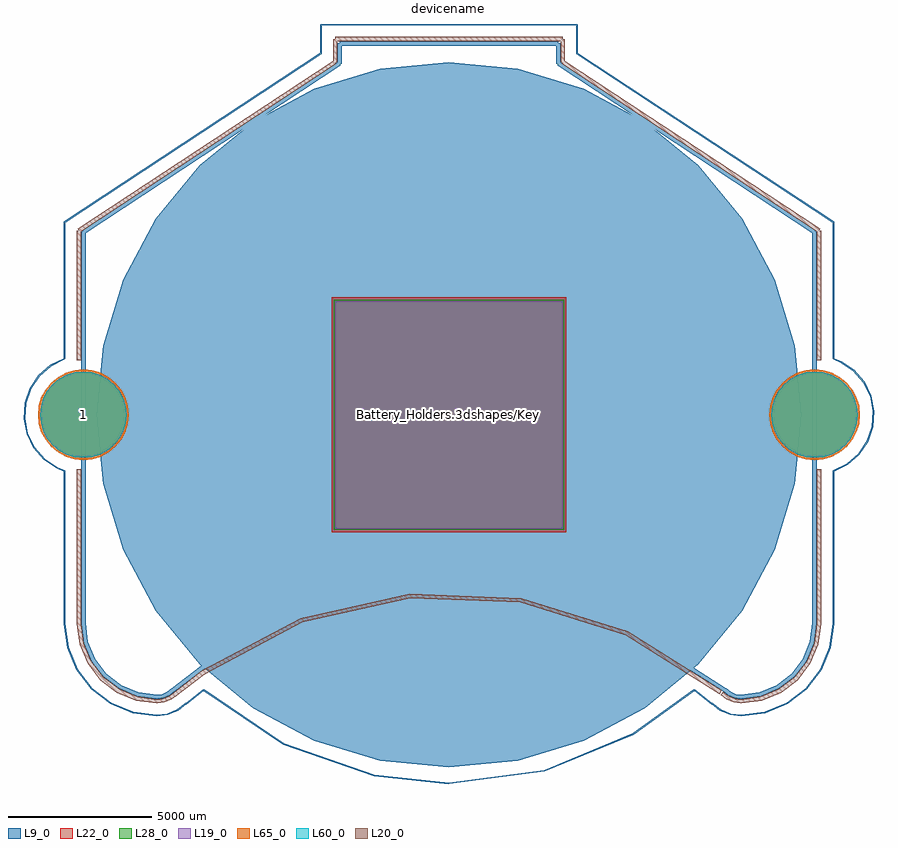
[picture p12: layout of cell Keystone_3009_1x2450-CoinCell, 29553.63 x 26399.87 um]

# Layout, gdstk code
import gdstk
lib = gdstk.Library(unit=1e-6, precision=1e-09)
def R(c, l, rs):  # rectangles x0, y0, x1, y1
    for r in rs: c.add(gdstk.rectangle(r[:2], r[2:], *l))
def P(c, l, *ps):  # polygons
    for p in ps: c.add(gdstk.Polygon(p, *l))
L9_0 = (9, 0)
L19_0 = (19, 0)
L20_0 = (20, 0)
L22_0 = (22, 0)
L28_0 = (28, 0)
L60_0 = (60, 0)
L65_0 = (65, 0)

keystone_3009_1x2450_coi = lib.new_cell('Keystone_3009_1x2450-CoinCell')
P(keystone_3009_1x2450_coi, L9_0, [(12250,0),(12014.62,2389.856),(11317.524,4687.872),(10185.503,6805.735),(8662.058,8662.058),(6805.735,10185.503),(4687.872,11317.524),(2389.856,12014.62),(0,12250),(-2389.856,12014.62),(-4687.872,11317.524),(-6805.735,10185.503),(-8662.058,8662.058),(-10185.503,6805.735),(-11317.524,4687.872),(-12014.62,2389.856),(-12250,0),(-12014.62,-2389.856),(-11317.524,-4687.872),(-10185.503,-6805.735),(-8662.058,-8662.058),(-6805.735,-10185.503),(-4687.872,-11317.524),(-2389.856,-12014.62),(0,-12250),(2389.856,-12014.62),(4687.872,-11317.524),(6805.735,-10185.503),(8662.058,-8662.058),(10185.503,-6805.735),(11317.524,-4687.872),(12014.62,-2389.856)])
R(keystone_3009_1x2450_coi, L19_0, [(-3950,-3950,3950,3950)])
R(keystone_3009_1x2450_coi, L22_0, [(-4075,-4075,4075,4075)])
P(keystone_3009_1x2450_coi, L22_0, [(14275,0),(14244.737,307.267),(14155.11,602.726),(14009.565,875.023),(13813.693,1113.693),(13575.023,1309.565),(13302.726,1455.11),(13007.267,1544.737),(12700,1575),(12392.733,1544.737),(12097.274,1455.11),(11824.977,1309.565),(11586.307,1113.693),(11390.435,875.023),(11244.89,602.726),(11155.263,307.267),(11125,0),(11155.263,-307.267),(11244.89,-602.726),(11390.435,-875.023),(11586.307,-1113.693),(11824.977,-1309.565),(12097.274,-1455.11),(12392.733,-1544.737),(12700,-1575),(13007.267,-1544.737),(13302.726,-1455.11),(13575.023,-1309.565),(13813.693,-1113.693),(14009.565,-875.023),(14155.11,-602.726),(14244.737,-307.267)],
  [(-11125,0),(-11155.263,307.267),(-11244.89,602.726),(-11390.435,875.023),(-11586.307,1113.693),(-11824.977,1309.565),(-12097.274,1455.11),(-12392.733,1544.737),(-12700,1575),(-13007.267,1544.737),(-13302.726,1455.11),(-13575.023,1309.565),(-13813.693,1113.693),(-14009.565,875.023),(-14155.11,602.726),(-14244.737,307.267),(-14275,0),(-14244.737,-307.267),(-14155.11,-602.726),(-14009.565,-875.023),(-13813.693,-1113.693),(-13575.023,-1309.565),(-13302.726,-1455.11),(-13007.267,-1544.737),(-12700,-1575),(-12392.733,-1544.737),(-12097.274,-1455.11),(-11824.977,-1309.565),(-11586.307,-1113.693),(-11390.435,-875.023),(-11244.89,-602.726),(-11155.263,-307.267)])
R(keystone_3009_1x2450_coi, L28_0, [(-4000,-4000,4000,4000)])
P(keystone_3009_1x2450_coi, L28_0, [(14200,0),(14171.178,292.635),(14085.819,574.025),(13947.204,833.355),(13760.66,1060.66),(13533.355,1247.204),(13274.025,1385.819),(12992.635,1471.178),(12700,1500),(12407.365,1471.178),(12125.975,1385.819),(11866.645,1247.204),(11639.34,1060.66),(11452.796,833.355),(11314.181,574.025),(11228.822,292.635),(11200,0),(11228.822,-292.635),(11314.181,-574.025),(11452.796,-833.355),(11639.34,-1060.66),(11866.645,-1247.204),(12125.975,-1385.819),(12407.365,-1471.178),(12700,-1500),(12992.635,-1471.178),(13274.025,-1385.819),(13533.355,-1247.204),(13760.66,-1060.66),(13947.204,-833.355),(14085.819,-574.025),(14171.178,-292.635)],
  [(-11200,0),(-11228.822,292.635),(-11314.181,574.025),(-11452.796,833.355),(-11639.34,1060.66),(-11866.645,1247.204),(-12125.975,1385.819),(-12407.365,1471.178),(-12700,1500),(-12992.635,1471.178),(-13274.025,1385.819),(-13533.355,1247.204),(-13760.66,1060.66),(-13947.204,833.355),(-14085.819,574.025),(-14171.178,292.635),(-14200,0),(-14171.178,-292.635),(-14085.819,-574.025),(-13947.204,-833.355),(-13760.66,-1060.66),(-13533.355,-1247.204),(-13274.025,-1385.819),(-12992.635,-1471.178),(-12700,-1500),(-12407.365,-1471.178),(-12125.975,-1385.819),(-11866.645,-1247.204),(-11639.34,-1060.66),(-11452.796,-833.355),(-11314.181,-574.025),(-11228.822,-292.635)])
P(keystone_3009_1x2450_coi, L60_0, [(14200,0),(14171.178,292.635),(14085.819,574.025),(13947.204,833.355),(13760.66,1060.66),(13533.355,1247.204),(13274.025,1385.819),(12992.635,1471.178),(12700,1500),(12407.365,1471.178),(12125.975,1385.819),(11866.645,1247.204),(11639.34,1060.66),(11452.796,833.355),(11314.181,574.025),(11228.822,292.635),(11200,0),(11228.822,-292.635),(11314.181,-574.025),(11452.796,-833.355),(11639.34,-1060.66),(11866.645,-1247.204),(12125.975,-1385.819),(12407.365,-1471.178),(12700,-1500),(12992.635,-1471.178),(13274.025,-1385.819),(13533.355,-1247.204),(13760.66,-1060.66),(13947.204,-833.355),(14085.819,-574.025),(14171.178,-292.635)],
  [(-11200,0),(-11228.822,292.635),(-11314.181,574.025),(-11452.796,833.355),(-11639.34,1060.66),(-11866.645,1247.204),(-12125.975,1385.819),(-12407.365,1471.178),(-12700,1500),(-12992.635,1471.178),(-13274.025,1385.819),(-13533.355,1247.204),(-13760.66,1060.66),(-13947.204,833.355),(-14085.819,574.025),(-14171.178,292.635),(-14200,0),(-14171.178,-292.635),(-14085.819,-574.025),(-13947.204,-833.355),(-13760.66,-1060.66),(-13533.355,-1247.204),(-13274.025,-1385.819),(-12992.635,-1471.178),(-12700,-1500),(-12407.365,-1471.178),(-12125.975,-1385.819),(-11866.645,-1247.204),(-11639.34,-1060.66),(-11452.796,-833.355),(-11314.181,-574.025),(-11228.822,-292.635)])
P(keystone_3009_1x2450_coi, L65_0, [(14275,0),(14244.737,307.267),(14155.11,602.726),(14009.565,875.023),(13813.693,1113.693),(13575.023,1309.565),(13302.726,1455.11),(13007.267,1544.737),(12700,1575),(12392.733,1544.737),(12097.274,1455.11),(11824.977,1309.565),(11586.307,1113.693),(11390.435,875.023),(11244.89,602.726),(11155.263,307.267),(11125,0),(11155.263,-307.267),(11244.89,-602.726),(11390.435,-875.023),(11586.307,-1113.693),(11824.977,-1309.565),(12097.274,-1455.11),(12392.733,-1544.737),(12700,-1575),(13007.267,-1544.737),(13302.726,-1455.11),(13575.023,-1309.565),(13813.693,-1113.693),(14009.565,-875.023),(14155.11,-602.726),(14244.737,-307.267)],
  [(-11125,0),(-11155.263,307.267),(-11244.89,602.726),(-11390.435,875.023),(-11586.307,1113.693),(-11824.977,1309.565),(-12097.274,1455.11),(-12392.733,1544.737),(-12700,1575),(-13007.267,1544.737),(-13302.726,1455.11),(-13575.023,1309.565),(-13813.693,1113.693),(-14009.565,875.023),(-14155.11,602.726),(-14244.737,307.267),(-14275,0),(-14244.737,-307.267),(-14155.11,-602.726),(-14009.565,-875.023),(-13813.693,-1113.693),(-13575.023,-1309.565),(-13302.726,-1455.11),(-13007.267,-1544.737),(-12700,-1575),(-12392.733,-1544.737),(-12097.274,-1455.11),(-11824.977,-1309.565),(-11586.307,-1113.693),(-11390.435,-875.023),(-11244.89,-602.726),(-11155.263,-307.267)])
keystone_3009_1x2450_coi.add(gdstk.FlexPath([(-4450,12550),(-13350,6700)], 50, ends="flush", simple_path=True, layer=9, datatype=0))  # L9_0
keystone_3009_1x2450_coi.add(gdstk.FlexPath([(-3800,12900),(3800,12900)], 149.998, ends="flush", simple_path=True, layer=9, datatype=0))  # L9_0
keystone_3009_1x2450_coi.add(gdstk.FlexPath([(3800,12900),(3800,12200)], 149.998, ends="flush", simple_path=True, layer=9, datatype=0))  # L9_0
keystone_3009_1x2450_coi.add(gdstk.FlexPath([(-3800,12900),(-3800,12200)], 149.998, ends="flush", simple_path=True, layer=9, datatype=0))  # L9_0
keystone_3009_1x2450_coi.add(gdstk.FlexPath([(-3800,12200),(-12700,6350)], 149.998, ends="flush", simple_path=True, layer=9, datatype=0))  # L9_0
keystone_3009_1x2450_coi.add(gdstk.FlexPath([(3800,12200),(12700,6350)], 149.998, ends="flush", simple_path=True, layer=9, datatype=0))  # L9_0
keystone_3009_1x2450_coi.add(gdstk.FlexPath([(-3950,12250),(-12850,6400)], 149.998, ends="flush", simple_path=True, layer=20, datatype=0))  # L20_0
keystone_3009_1x2450_coi.add(gdstk.FlexPath([(-3950,13050),(-3950,12250)], 149.998, ends="flush", simple_path=True, layer=20, datatype=0))  # L20_0
keystone_3009_1x2450_coi.add(gdstk.FlexPath([(-3950,13050),(3950,13050)], 149.998, ends="flush", simple_path=True, layer=20, datatype=0))  # L20_0
keystone_3009_1x2450_coi.add(gdstk.FlexPath([(3950,13050),(3950,12250)], 149.998, ends="flush", simple_path=True, layer=20, datatype=0))  # L20_0
keystone_3009_1x2450_coi.add(gdstk.FlexPath([(3950,12250),(12850,6400)], 149.998, ends="flush", simple_path=True, layer=20, datatype=0))  # L20_0
keystone_3009_1x2450_coi.add(gdstk.FlexPath([(4450,12550),(13350,6700)], 50, ends="flush", simple_path=True, layer=9, datatype=0))  # L9_0
keystone_3009_1x2450_coi.add(gdstk.FlexPath([(-4450,13550),(-4450,12550)], 50, ends="flush", simple_path=True, layer=9, datatype=0))  # L9_0
keystone_3009_1x2450_coi.add(gdstk.FlexPath([(-4450,13550),(4450,13550)], 50, ends="flush", simple_path=True, layer=9, datatype=0))  # L9_0
keystone_3009_1x2450_coi.add(gdstk.FlexPath([(4450,13550),(4450,12550)], 50, ends="flush", simple_path=True, layer=9, datatype=0))  # L9_0
keystone_3009_1x2450_coi.add(gdstk.FlexPath([(-12700,6350),(-12700,-7300)], 149.998, ends="flush", simple_path=True, layer=9, datatype=0))  # L9_0
keystone_3009_1x2450_coi.add(gdstk.FlexPath([(12700,6350),(12700,-7300)], 149.998, ends="flush", simple_path=True, layer=9, datatype=0))  # L9_0
keystone_3009_1x2450_coi.add(gdstk.FlexPath([(13350,-1950),(13350,-7300)], 50, ends="flush", simple_path=True, layer=9, datatype=0))  # L9_0
keystone_3009_1x2450_coi.add(gdstk.FlexPath([(-13350,6700),(-13350,1950)], 50, ends="flush", simple_path=True, layer=9, datatype=0))  # L9_0
keystone_3009_1x2450_coi.add(gdstk.FlexPath([(-13350,-1950),(-13350,-7300)], 50, ends="flush", simple_path=True, layer=9, datatype=0))  # L9_0
keystone_3009_1x2450_coi.add(gdstk.FlexPath([(13350,6700),(13350,1950)], 50, ends="flush", simple_path=True, layer=9, datatype=0))  # L9_0
keystone_3009_1x2450_coi.add(gdstk.FlexPath([(-12850,6400),(-12850,1900)], 149.998, ends="flush", simple_path=True, layer=20, datatype=0))  # L20_0
keystone_3009_1x2450_coi.add(gdstk.FlexPath([(12850,6400),(12850,1900)], 149.998, ends="flush", simple_path=True, layer=20, datatype=0))  # L20_0
keystone_3009_1x2450_coi.add(gdstk.FlexPath([(-12700,-7250),(-12613.111,-7909.989),(-12358.365,-8525),(-11953.122,-9053.122),(-11425,-9458.365),(-10809.989,-9713.111),(-10150,-9800)], 149.998, ends="flush", simple_path=True, layer=9, datatype=0))  # L9_0
keystone_3009_1x2450_coi.add(gdstk.FlexPath([(10150,-9800),(10809.989,-9713.111),(11425,-9458.365),(11953.122,-9053.122),(12358.365,-8525),(12613.111,-7909.989),(12700,-7250)], 149.998, ends="flush", simple_path=True, layer=9, datatype=0))  # L9_0
keystone_3009_1x2450_coi.add(gdstk.FlexPath([(-12850,-1900),(-12850,-7300)], 149.998, ends="flush", simple_path=True, layer=20, datatype=0))  # L20_0
keystone_3009_1x2450_coi.add(gdstk.FlexPath([(12850,-1900),(12850,-7300)], 149.998, ends="flush", simple_path=True, layer=20, datatype=0))  # L20_0
keystone_3009_1x2450_coi.add(gdstk.FlexPath([(10150,-9950),(10848.811,-9858),(11500,-9588.269),(12059.188,-9159.188),(12488.269,-8600),(12758,-7948.811),(12850,-7250)], 149.998, ends="flush", simple_path=True, layer=20, datatype=0))  # L20_0
keystone_3009_1x2450_coi.add(gdstk.FlexPath([(-12850,-7250),(-12758,-7948.811),(-12488.269,-8600),(-12059.188,-9159.188),(-11500,-9588.269),(-10848.811,-9858),(-10150,-9950)], 149.998, ends="flush", simple_path=True, layer=20, datatype=0))  # L20_0
keystone_3009_1x2450_coi.add(gdstk.FlexPath([(9579.482,-9562.784),(6292.9,-7473.145),(2577.467,-6305.339),(-1313.616,-6138.95),(-5115.179,-6985.317),(-8568.15,-8786.761),(-9600,-9580)], 149.998, ends="flush", simple_path=True, layer=9, datatype=0))  # L9_0
keystone_3009_1x2450_coi.add(gdstk.FlexPath([(-10150,-9800),(-9942.945,-9772.74),(-9750,-9692.82),(-9584.315,-9565.685)], 149.998, ends="flush", simple_path=True, layer=9, datatype=0))  # L9_0
keystone_3009_1x2450_coi.add(gdstk.FlexPath([(9584.315,-9565.685),(9750,-9692.82),(9942.945,-9772.74),(10150,-9800)], 149.998, ends="flush", simple_path=True, layer=9, datatype=0))  # L9_0
keystone_3009_1x2450_coi.add(gdstk.FlexPath([(-10150,-9950),(-9904.122,-9917.629),(-9675,-9822.724),(-9478.249,-9671.751)], 149.998, ends="flush", simple_path=True, layer=20, datatype=0))  # L20_0
keystone_3009_1x2450_coi.add(gdstk.FlexPath([(9478.249,-9671.751),(9675,-9822.724),(9904.122,-9917.629),(10150,-9950)], 149.998, ends="flush", simple_path=True, layer=20, datatype=0))  # L20_0
keystone_3009_1x2450_coi.add(gdstk.FlexPath([(9440.443,-9638.071),(6178.084,-7581.853),(2494.699,-6440.059),(-1358.696,-6290.502),(-5119.498,-7143.372),(-8531.414,-8940.549),(-9550,-9730)], 149.998, ends="flush", simple_path=True, layer=20, datatype=0))  # L20_0
keystone_3009_1x2450_coi.add(gdstk.FlexPath([(-13354.426,1948.519),(-13836.441,1712.747),(-14241.009,1360.254),(-14540.56,915.062),(-14714.68,407.51),(-14751.503,-127.813),(-14648.519,-654.426),(-14412.747,-1136.441),(-14060.254,-1541.009),(-13615.062,-1840.56),(-13350,-1950)], 50, ends="flush", simple_path=True, layer=9, datatype=0))  # L9_0
keystone_3009_1x2450_coi.add(gdstk.FlexPath([(13350,-1950),(13832.549,-1715.323),(14237.917,-1363.75),(14538.478,-919.239),(14713.75,-412.083),(14751.788,123.155),(14650,650),(14415.323,1132.549),(14063.749,1537.916),(13619.239,1838.478),(13354.426,1948.519)], 50, ends="flush", simple_path=True, layer=9, datatype=0))  # L9_0
keystone_3009_1x2450_coi.add(gdstk.FlexPath([(-13350,-7250),(-13240.963,-8078.221),(-12921.281,-8850),(-12412.742,-9512.742),(-11750,-10021.281),(-10978.221,-10340.963),(-10150,-10450)], 50, ends="flush", simple_path=True, layer=9, datatype=0))  # L9_0
keystone_3009_1x2450_coi.add(gdstk.FlexPath([(10150,-10450),(10978.221,-10340.963),(11750,-10021.281),(12412.742,-9512.742),(12921.281,-8850),(13240.963,-8078.221),(13350,-7250)], 50, ends="flush", simple_path=True, layer=9, datatype=0))  # L9_0
keystone_3009_1x2450_coi.add(gdstk.FlexPath([(-10150,-10450),(-9774.712,-10400.592),(-9425,-10255.736),(-9124.696,-10025.304)], 50, ends="flush", simple_path=True, layer=9, datatype=0))  # L9_0
keystone_3009_1x2450_coi.add(gdstk.FlexPath([(9124.696,-10025.304),(9425,-10255.736),(9774.712,-10400.592),(10150,-10450)], 50, ends="flush", simple_path=True, layer=9, datatype=0))  # L9_0
keystone_3009_1x2450_coi.add(gdstk.FlexPath([(-8524.487,-9556.307),(-9150,-10050)], 50, ends="flush", simple_path=True, layer=9, datatype=0))  # L9_0
keystone_3009_1x2450_coi.add(gdstk.FlexPath([(-8514.948,-9556.968),(-5751.283,-11435.153),(-2595.677,-12534.052),(0,-12800)], 50, ends="flush", simple_path=True, layer=9, datatype=0))  # L9_0
keystone_3009_1x2450_coi.add(gdstk.FlexPath([(9150,-10050),(8524.487,-9556.307)], 50, ends="flush", simple_path=True, layer=9, datatype=0))  # L9_0
keystone_3009_1x2450_coi.add(gdstk.FlexPath([(0,-12800),(3312.884,-12363.85),(6400,-11085.125),(8514.948,-9556.968)], 50, ends="flush", simple_path=True, layer=9, datatype=0))  # L9_0
keystone_3009_1x2450_coi.add(gdstk.Label('Battery_Holders.3dshapes/Keystone_3009_1x2450-CoinCell.wrl', (0,0), layer=12, texttype=0))
keystone_3009_1x2450_coi.add(gdstk.Label('2', (0,0), layer=28, texttype=0))
keystone_3009_1x2450_coi.add(gdstk.Label('1', (-12700,0), layer=28, texttype=0))
keystone_3009_1x2450_coi.add(gdstk.Label('type', (0,-14000), layer=9, texttype=0))
keystone_3009_1x2450_coi.add(gdstk.Label('devicename', (0,14400), layer=9, texttype=0))

lib.write_gds('Keystone_3009_1x2450-CoinCell.gds')
